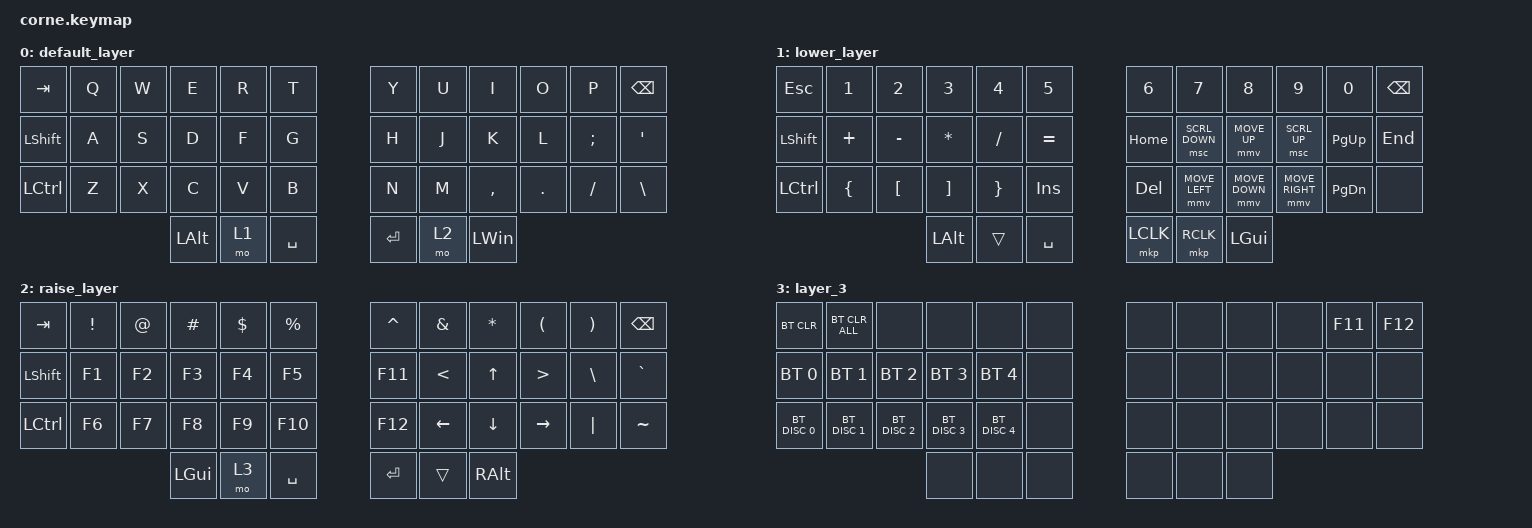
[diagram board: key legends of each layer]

// ZMK includes
#include <behaviors.dtsi>
#include <dt-bindings/zmk/keys.h>
#include <dt-bindings/zmk/bt.h>
#include <dt-bindings/zmk/rgb.h>
#include <dt-bindings/zmk/ext_power.h>


// Personal includes
#include "includes/custom_keycodes.dtsi"
#include "includes/settings.dtsi"
//#include "includes/settings_pd.dtsi"
#include "includes/conditional_layers.dtsi"
#include "includes/macros.dtsi"
#include "includes/combos.dtsi"
#include "includes/behaviours_homerow_mods.dtsi"
#include "includes/behaviours_mod_morph.dtsi"
#include "includes/behaviours_other.dtsi"
#include "includes/mouse_keys.dtsi"
#include "includes/mouse_tp.dtsi"
#include "includes/mouse_tp_badjeff_input_listener.dtsi"



#define HAS_TRI_STATE
#define HAS_MOUSE_KEYS

#define U_MOUSE_SCROLL_MAX 100                    /* <--- New max speed setting (default: 10) */

/ {
    keymap {
        compatible = "zmk,keymap";

        default_layer {
            bindings = <
&kp TAB         &kp Q  &kp W  &kp E         &kp R  &kp T        &kp Y    &kp U  &kp I         &kp O    &kp P     &kp BSPC
&kp LEFT_SHIFT  &kp A  &kp S  &kp D         &kp F  &kp G        &kp H    &kp J  &kp K         &kp L    &kp SEMI  &kp SQT
&kp LCTRL       &kp Z  &kp X  &kp C         &kp V  &kp B        &kp N    &kp M  &kp COMMA     &kp DOT  &kp FSLH  &kp BACKSLASH
                              &kp LEFT_ALT  &mo 1  &kp SPACE    &kp RET  &mo 2  &kp LEFT_WIN
            >;
        };

        lower_layer {
            bindings = <
&kp ESCAPE      &kp N1          &kp N2            &kp N3             &kp N4           &kp N5        &kp N6    &kp N7          &kp N8          &kp N9           &kp N0         &kp BSPC
&kp LEFT_SHIFT  &kp PLUS        &kp MINUS         &kp ASTERISK       &kp SLASH        &kp EQUAL     &kp HOME  &msc SCRL_DOWN  &mmv MOVE_UP    &msc SCRL_UP     &kp PAGE_UP    &kp END
&kp LCTRL       &kp LEFT_BRACE  &kp LEFT_BRACKET  &kp RIGHT_BRACKET  &kp RIGHT_BRACE  &kp INSERT    &kp DEL   &mmv MOVE_LEFT  &mmv MOVE_DOWN  &mmv MOVE_RIGHT  &kp PAGE_DOWN  &none
                                                  &kp LEFT_ALT       &trans           &kp SPACE     &mkp LCLK  &mkp RCLK        &kp LEFT_GUI
            >;
        };

        raise_layer {
            bindings = <
&kp TAB         &kp EXCL  &kp AT  &kp HASH  &kp DLLR  &kp PRCNT    &kp CARET  &kp AMPS        &kp ASTRK       &kp LPAR         &kp RPAR  &kp BSPC
&kp LEFT_SHIFT  &kp F1    &kp F2  &kp F3    &kp F4    &kp F5       &kp F11    &kp LT          &kp UP          &kp GT           &kp BSLH  &kp GRAVE
&kp LCTRL       &kp F6    &kp F7  &kp F8    &kp F9    &kp F10      &kp F12    &kp LEFT_ARROW  &kp DOWN_ARROW  &kp RIGHT_ARROW  &kp PIPE  &kp TILDE
                                  &kp LGUI  &mo 3     &kp SPACE    &kp RET    &trans          &kp RALT
            >;
        };

        layer_3 {
            bindings = <
&bt BT_CLR     &bt BT_CLR_ALL  &none          &none          &none          &none    &none  &none  &none  &none  &kp F11  &kp F12
&bt BT_SEL 0   &bt BT_SEL 1    &bt BT_SEL 2   &bt BT_SEL 3   &bt BT_SEL 4   &none    &none  &none  &none  &none  &none    &none
&bt BT_DISC 0  &bt BT_DISC 1   &bt BT_DISC 2  &bt BT_DISC 3  &bt BT_DISC 4  &none    &none  &none  &none  &none  &none    &none
                                              &none          &none          &none    &none  &none  &none
            >;
        };
    };
};
